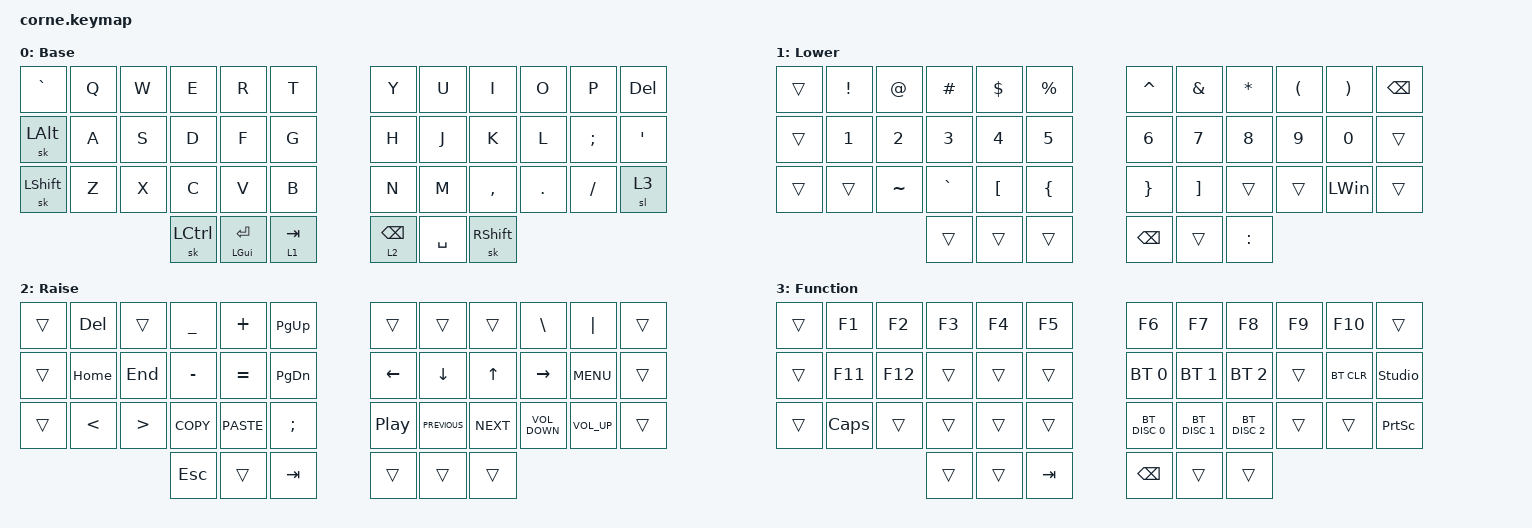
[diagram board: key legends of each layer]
/*
 * Copyright (c) 2025 Nhut Duong
 *
 * SPDX-License-Identifier: MIT
 */

#include <behaviors.dtsi>
#include <dt-bindings/zmk/bt.h>
#include <dt-bindings/zmk/keys.h>

#define BASE     0
#define LOWER    1
#define RAISE    2
#define FUNCTION 3

/ {
    keymap {
        compatible = "zmk,keymap";

        BASE {
            display-name = "Base";

            bindings = <
&kp GRAVE     &kp Q  &kp W  &kp E             &kp R               &kp T        &kp Y            &kp U      &kp I            &kp O    &kp P          &kp DELETE
&sk LEFT_ALT  &kp A  &kp S  &kp D             &kp F               &kp G        &kp H            &kp J      &kp K            &kp L    &kp SEMICOLON  &kp SINGLE_QUOTE
&sk LSHFT     &kp Z  &kp X  &kp C             &kp V               &kp B        &kp N            &kp M      &kp COMMA        &kp DOT  &kp FSLH       &sl 3
                            &sk LEFT_CONTROL  &mt LEFT_GUI ENTER  &lt 1 TAB    &lt 2 BACKSPACE  &kp SPACE  &sk RIGHT_SHIFT
            >;
        };

        LOWER {
            display-name = "Lower";

            bindings = <
&trans  &kp EXCL      &kp AT_SIGN   &kp POUND     &kp DOLLAR        &kp PERCENT       &kp CARET        &kp AMPERSAND      &kp ASTRK     &kp LEFT_PARENTHESIS  &kp RIGHT_PARENTHESIS  &kp BSPC
&trans  &kp NUMBER_1  &kp NUMBER_2  &kp NUMBER_3  &kp NUMBER_4      &kp NUMBER_5      &kp NUMBER_6     &kp NUMBER_7       &kp NUMBER_8  &kp NUMBER_9          &kp NUMBER_0           &trans
&trans  &trans        &kp TILDE     &kp GRAVE     &kp LEFT_BRACKET  &kp LEFT_BRACE    &kp RIGHT_BRACE  &kp RIGHT_BRACKET  &trans        &trans                &kp LEFT_WIN           &trans
                                    &trans        &trans            &trans            &kp BACKSPACE    &trans             &kp COLON
            >;
        };

        RAISE {
            display-name = "Raise";

            bindings = <
&trans  &kp DELETE     &trans            &kp UNDERSCORE  &kp PLUS     &kp PAGE_UP      &trans            &trans          &trans      &kp BACKSLASH      &kp PIPE         &trans
&trans  &kp HOME       &kp END           &kp MINUS       &kp EQUAL    &kp PAGE_DOWN    &kp LEFT          &kp DOWN        &kp UP      &kp RIGHT          &kp K_MENU       &trans
&trans  &kp LESS_THAN  &kp GREATER_THAN  &kp K_COPY      &kp K_PASTE  &kp SEMICOLON    &kp C_PLAY_PAUSE  &kp C_PREVIOUS  &kp C_NEXT  &kp C_VOLUME_DOWN  &kp C_VOLUME_UP  &trans
                                         &kp ESCAPE      &trans       &kp TAB          &trans            &trans          &trans
            >;
        };

        FUNCTION {
            display-name = "Function";

            bindings = <
&trans  &kp F1    &kp F2   &kp F3  &kp F4  &kp F5     &kp F6         &kp F7         &kp F8         &kp F9  &kp F10     &trans
&trans  &kp F11   &kp F12  &trans  &trans  &trans     &bt BT_SEL 0   &bt BT_SEL 1   &bt BT_SEL 2   &trans  &bt BT_CLR  &studio_unlock
&trans  &kp CAPS  &trans   &trans  &trans  &trans     &bt BT_DISC 0  &bt BT_DISC 1  &bt BT_DISC 2  &trans  &trans      &kp PRINTSCREEN
                           &trans  &trans  &kp TAB    &kp BACKSPACE  &trans         &trans
            >;
        };
    };
};
